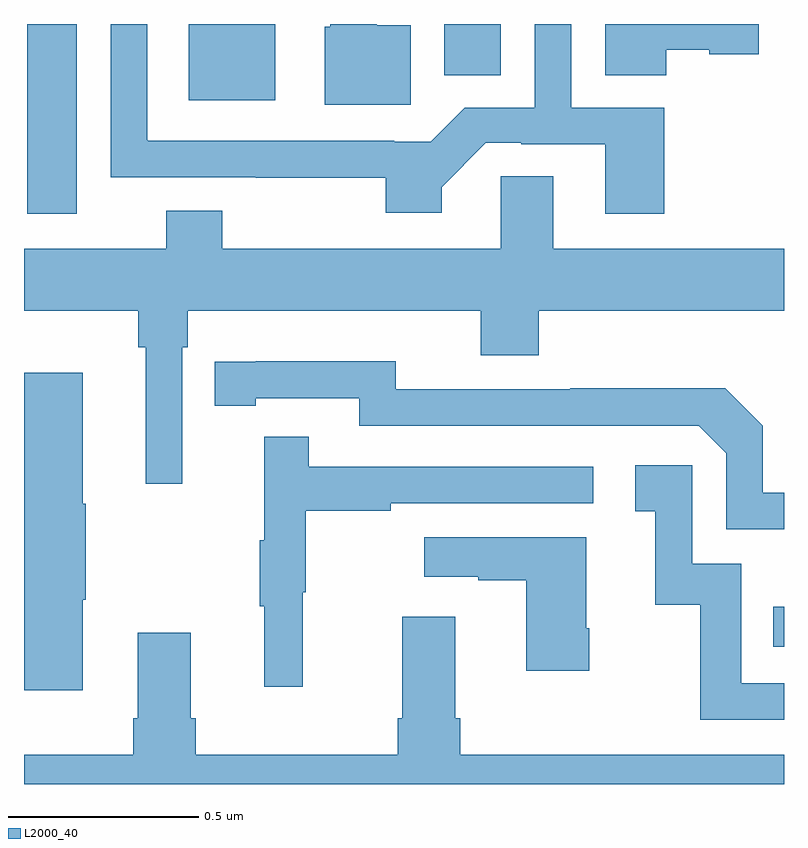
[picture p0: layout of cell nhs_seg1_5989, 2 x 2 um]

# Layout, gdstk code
import gdstk
lib = gdstk.Library(unit=1e-6, precision=1e-09)
def R(c, l, rs):  # rectangles x0, y0, x1, y1
    for r in rs: c.add(gdstk.rectangle(r[:2], r[2:], *l))
def P(c, l, *ps):  # polygons
    for p in ps: c.add(gdstk.Polygon(p, *l))
L2000_40 = (2000, 40)

nhs_seg1_5989 = lib.new_cell('nhs_seg1_5989')
R(nhs_seg1_5989, L2000_40, [(187.972,505.56,188,505.665), (186.008,506.7,186.139,507.199), (186.434,506.999,186.661,507.199), (187.106,507.064,187.255,507.199)])
P(nhs_seg1_5989, L2000_40, [(187.69,507.131),(187.803,507.131),(187.803,507.119),(187.933,507.119),(187.933,507.199),(187.529,507.199),(187.529,507.064),(187.69,507.064)],
  [(187.018,507.196),(186.928,507.196),(186.928,507.199),(186.806,507.199),(186.806,507.192),(186.791,507.192),(186.791,506.987),(187.018,506.987)],
  [(187.685,506.979),(187.44,506.979),(187.44,507.199),(187.344,507.199),(187.344,506.979),(187.16,506.979),(187.07,506.889),(186.974,506.889),(186.974,506.892),(186.325,506.892),(186.325,506.893),(186.324,506.893),(186.324,507.199),(186.228,507.199),(186.228,506.796),(186.61,506.796),(186.61,506.795),(186.952,506.795),(186.952,506.702),(187.099,506.702),(187.099,506.77),(187.215,506.886),(187.309,506.886),(187.309,506.883),(187.529,506.883),(187.529,506.7),(187.685,506.7)],
  [(186.417,506.348),(186.431,506.348),(186.431,506.444),(187.202,506.444),(187.202,506.327),(187.355,506.327),(187.355,506.444),(188,506.444),(188,506.608),(187.393,506.608),(187.393,506.798),(187.254,506.798),(187.254,506.608),(186.522,506.608),(186.522,506.707),(186.374,506.707),(186.374,506.608),(186,506.608),(186,506.444),(186.301,506.444),(186.301,506.348),(186.32,506.348),(186.32,505.989),(186.417,505.989)],
  [(188,505.965),(187.944,505.965),(187.944,506.142),(187.846,506.24),(187.438,506.24),(187.438,506.238),(186.978,506.238),(186.978,506.311),(186.61,506.311),(186.61,506.31),(186.502,506.31),(186.502,506.194),(186.61,506.194),(186.61,506.214),(186.882,506.214),(186.882,506.142),(187.776,506.142),(187.848,506.07),(187.848,505.869),(188,505.869)],
  [(186.154,505.684),(186.162,505.684),(186.162,505.937),(186.154,505.937),(186.154,506.281),(186,506.281),(186,505.446),(186.154,505.446)],
  [(186.734,505.704),(186.742,505.704),(186.742,505.918),(186.965,505.918),(186.965,505.938),(187.498,505.938),(187.498,506.034),(186.749,506.034),(186.749,506.113),(186.632,506.113),(186.632,505.841),(186.621,505.841),(186.621,505.667),(186.632,505.667),(186.632,505.455),(186.734,505.455)],
  [(188,505.464),(187.887,505.464),(187.887,505.779),(187.758,505.779),(187.758,506.038),(187.608,506.038),(187.608,505.917),(187.661,505.917),(187.661,505.671),(187.779,505.671),(187.779,505.368),(188,505.368)],
  [(187.488,505.609),(187.48,505.609),(187.48,505.849),(187.053,505.849),(187.053,505.745),(187.196,505.745),(187.196,505.735),(187.322,505.735),(187.322,505.497),(187.488,505.497)],
  [(188,505.276),(187.148,505.276),(187.148,505.372),(187.135,505.372),(187.135,505.639),(186.995,505.639),(186.995,505.372),(186.983,505.372),(186.983,505.276),(186.452,505.276),(186.452,505.372),(186.439,505.372),(186.439,505.597),(186.299,505.597),(186.299,505.372),(186.287,505.372),(186.287,505.276),(186,505.276),(186,505.199),(188,505.199)])

lib.write_gds('nhs_seg1_5989.gds')
